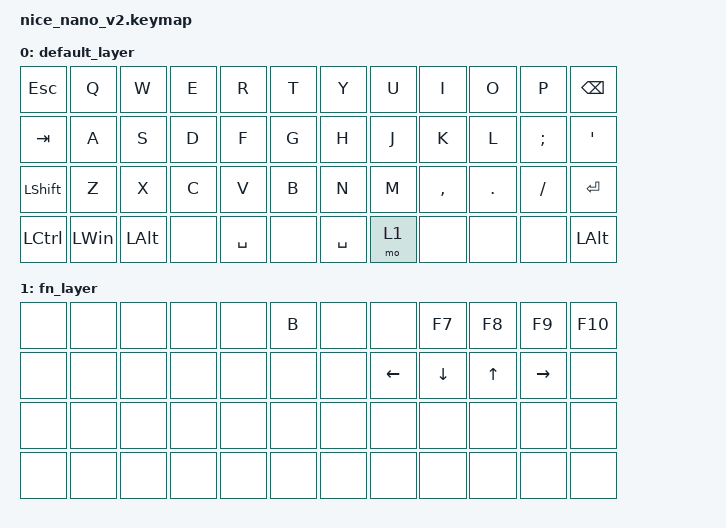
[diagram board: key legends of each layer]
#include <behaviors.dtsi>
#include <dt-bindings/zmk/keys.h>
// ĐÃ XÓA THƯ VIỆN BLUETOOTH Ở ĐÂY

/ {
    keymap {
        compatible = "zmk,keymap";

        default_layer {
            bindings = <
            // Hàng 0 (D6)
            &kp ESC    &kp Q      &kp W      &kp E      &kp R      &kp T      &kp Y      &kp U      &kp I      &kp O      &kp P      &kp BSPC
            // Hàng 1 (D7)
            &kp TAB    &kp A      &kp S      &kp D      &kp F      &kp G      &kp H      &kp J      &kp K      &kp L      &kp SEMI   &kp SQT
            // Hàng 2 (D8)
            &kp LSHFT  &kp Z      &kp X      &kp C      &kp V      &kp B      &kp N      &kp M      &kp COMMA  &kp DOT    &kp FSLH   &kp ENTER
            // Hàng 3 (D9)
            &kp LCTRL  &kp LWIN   &kp LALT   &none      &kp SPACE  &none      &kp SPACE  &mo 1      &none      &none      &none      &kp LALT
            >;
        };

        fn_layer {
            bindings = <
            // ĐÃ XÓA CÁC LỆNH BLUETOOTH
            &none      &none      &none      &none      &none      &kp B      &none      &none      &kp F7     &kp F8     &kp F9     &kp F10
            &none      &none      &none      &none      &none      &none      &none      &kp LEFT   &kp DOWN   &kp UP     &kp RIGHT  &none
            &none      &none      &none      &none      &none      &none      &none      &none      &none      &none      &none      &none
            &none      &none      &none      &none      &none      &none      &none      &none      &none      &none      &none      &none
            >;
        };
    };
};
